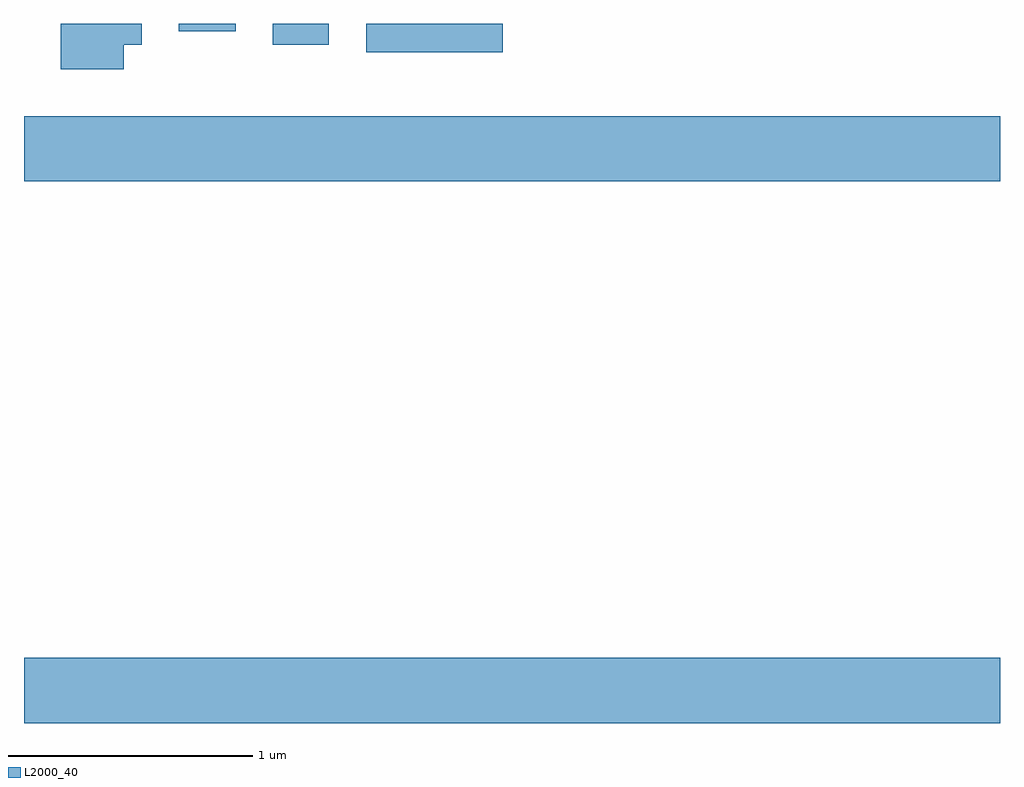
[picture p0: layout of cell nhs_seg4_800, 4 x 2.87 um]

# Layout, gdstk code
import gdstk
lib = gdstk.Library(unit=1e-6, precision=1e-09)
def R(c, l, rs):  # rectangles x0, y0, x1, y1
    for r in rs: c.add(gdstk.rectangle(r[:2], r[2:], *l))
def P(c, l, *ps):  # polygons
    for p in ps: c.add(gdstk.Polygon(p, *l))
L2000_40 = (2000, 40)

nhs_seg4_800 = lib.new_cell('nhs_seg4_800')
R(nhs_seg4_800, L2000_40, [(207.611,1359.116,211.611,1359.384), (207.611,1361.336,211.611,1361.604), (209.013,1361.866,209.574,1361.982), (208.631,1361.896,208.859,1361.982), (208.246,1361.951,208.479,1361.982)])
P(nhs_seg4_800, L2000_40, [(208.019,1361.896),(208.094,1361.896),(208.094,1361.982),(207.761,1361.982),(207.761,1361.796),(208.019,1361.796)])

lib.write_gds('nhs_seg4_800.gds')
